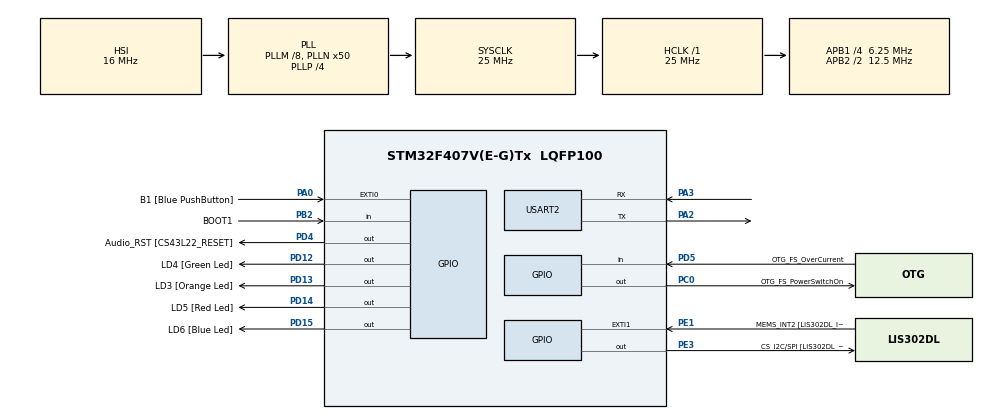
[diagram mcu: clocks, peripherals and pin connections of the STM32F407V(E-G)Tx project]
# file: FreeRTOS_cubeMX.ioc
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FREERTOS.Tasks01=defaultTask,0,128,StartDefaultTask,Default,NULL,Dynamic,NULL,NULL;myTask02,0,128,StartTask02,Default,NULL,Dynamic,NULL,NULL;myTask03,0,128,StartTask03,Default,NULL,Dynamic,NULL,NULL
Mcu.Family=STM32F4
Mcu.Name=STM32F407V(E-G)Tx
Mcu.Package=LQFP100
NVIC.PriorityGroup=NVIC_PRIORITYGROUP_4
NVIC.TIM1_UP_TIM10_IRQn=true\:0\:0\:false\:false\:true\:false\:false\:true
NVIC.TimeBase=TIM1_UP_TIM10_IRQn
NVIC.TimeBaseIP=TIM1
PA0-WKUP.GPIO_Label=B1 [Blue PushButton]
PA0-WKUP.Signal=GPXTI0
PA10.GPIO_Label=OTG_FS_ID
PA10.GPIO_Mode=GPIO_MODE_AF_PP
PA10.GPIO_PuPd=GPIO_NOPULL
PA10.GPIO_Speed=GPIO_SPEED_FREQ_LOW
PA10.Signal=USB_OTG_FS_ID
PA11.GPIO_Label=OTG_FS_DM
PA11.GPIO_Mode=GPIO_MODE_AF_PP
PA11.GPIO_PuPd=GPIO_NOPULL
PA11.GPIO_Speed=GPIO_SPEED_FREQ_LOW
PA11.Signal=USB_OTG_FS_DM
PA12.GPIO_Label=OTG_FS_DP
PA12.GPIO_Mode=GPIO_MODE_AF_PP
PA12.GPIO_PuPd=GPIO_NOPULL
PA12.GPIO_Speed=GPIO_SPEED_FREQ_LOW
PA12.Signal=USB_OTG_FS_DP
PA13.GPIO_Label=SWDIO
PA13.Signal=SYS_JTMS-SWDIO
PA14.GPIO_Label=SWCLK
PA14.Signal=SYS_JTCK-SWCLK
PA2.Mode=Asynchronous
PA2.Signal=USART2_TX
PA3.Mode=Asynchronous
PA3.Signal=USART2_RX
PA4.GPIO_Label=I2S3_WS [CS43L22_LRCK]
PA4.GPIO_Mode=GPIO_MODE_AF_PP
PA4.GPIO_PuPd=GPIO_NOPULL
PA4.GPIO_Speed=GPIO_SPEED_FREQ_LOW
PA4.Signal=I2S3_WS
PA5.GPIO_Label=SPI1_SCK [LIS302DL_SCL/SPC]
PA5.GPIO_Mode=GPIO_MODE_AF_PP
PA5.GPIO_PuPd=GPIO_NOPULL
PA5.GPIO_Speed=GPIO_SPEED_FREQ_LOW
PA5.Signal=SPI1_SCK
PA6.GPIO_Label=SPI1_MISO [LIS302DL_SDO]
PA6.GPIO_Mode=GPIO_MODE_AF_PP
PA6.GPIO_PuPd=GPIO_NOPULL
PA6.GPIO_Speed=GPIO_SPEED_FREQ_LOW
PA6.Signal=SPI1_MISO
PA7.GPIO_Label=SPI1_MOSI [LIS302DL_SDA/SDI/SDO]
PA7.GPIO_Mode=GPIO_MODE_AF_PP
PA7.GPIO_PuPd=GPIO_NOPULL
PA7.GPIO_Speed=GPIO_SPEED_FREQ_LOW
PA7.Signal=SPI1_MOSI
PA9.GPIO_Label=VBUS_FS
PA9.GPIO_Mode=GPIO_MODE_INPUT
PA9.GPIO_PuPd=GPIO_NOPULL
PA9.Signal=USB_OTG_FS_VBUS
PB10.GPIO_Label=CLK_IN [MP45DT02_CLK]
PB10.GPIO_Mode=GPIO_MODE_AF_PP
PB10.GPIO_PuPd=GPIO_NOPULL
PB10.GPIO_Speed=GPIO_SPEED_FREQ_LOW
PB10.Signal=I2S2_CK
PB2.GPIO_Label=BOOT1
PB2.GPIO_Mode=GPIO_MODE_INPUT
PB2.GPIO_PuPd=GPIO_NOPULL
PB2.Signal=GPIO_Input
PB3.GPIO_Label=SWO
PB3.Signal=SYS_JTDO-SWO
PB6.GPIO_Label=Audio_SCL [CS43L22_SCL]
PB6.GPIO_Mode=GPIO_MODE_AF_OD
PB6.GPIO_PuPd=GPIO_NOPULL
PB6.GPIO_Speed=GPIO_SPEED_FREQ_LOW
PB6.Signal=I2C1_SCL
PB9.GPIO_Label=Audio_SDA [CS43L22_SDA]
PB9.GPIO_Mode=GPIO_MODE_AF_OD
PB9.GPIO_PuPd=GPIO_NOPULL
PB9.GPIO_Speed=GPIO_SPEED_FREQ_LOW
PB9.Signal=I2C1_SDA
PC0.GPIO_Label=OTG_FS_PowerSwitchOn
PC0.GPIO_PuPd=GPIO_NOPULL
PC0.GPIO_Speed=GPIO_SPEED_FREQ_LOW
PC0.PinState=GPIO_PIN_SET
PC0.Signal=GPIO_Output
PC10.GPIO_Label=I2S3_SCK [CS43L22_SCLK]
PC10.GPIO_Mode=GPIO_MODE_AF_PP
PC10.GPIO_PuPd=GPIO_NOPULL
PC10.GPIO_Speed=GPIO_SPEED_FREQ_LOW
PC10.Signal=I2S3_CK
PC12.GPIO_Label=I2S3_SD [CS43L22_SDIN]
PC12.GPIO_Mode=GPIO_MODE_AF_PP
PC12.GPIO_PuPd=GPIO_NOPULL
PC12.GPIO_Speed=GPIO_SPEED_FREQ_LOW
PC12.Signal=I2S3_SD
PC14-OSC32_IN.GPIO_Label=PC14-OSC32_IN
PC14-OSC32_IN.Signal=RCC_OSC32_IN
PC15-OSC32_OUT.GPIO_Label=PC15-OSC32_OUT
PC15-OSC32_OUT.Signal=RCC_OSC32_OUT
PC3.GPIO_Label=PDM_OUT [MP45DT02_DOUT]
PC3.GPIO_Mode=GPIO_MODE_AF_PP
PC3.GPIO_PuPd=GPIO_NOPULL
PC3.GPIO_Speed=GPIO_SPEED_FREQ_LOW
PC3.Signal=I2S2_SD
PC7.GPIO_Label=I2S3_MCK [CS43L22_MCLK]
PC7.GPIO_Mode=GPIO_MODE_AF_PP
PC7.GPIO_PuPd=GPIO_NOPULL
PC7.GPIO_Speed=GPIO_SPEED_FREQ_LOW
PC7.Signal=I2S3_MCK
PD12.GPIO_Label=LD4 [Green Led]
PD12.GPIO_PuPd=GPIO_NOPULL
PD12.GPIO_Speed=GPIO_SPEED_FREQ_LOW
PD12.Signal=GPIO_Output
PD13.GPIO_Label=LD3 [Orange Led]
PD13.GPIO_PuPd=GPIO_NOPULL
PD13.GPIO_Speed=GPIO_SPEED_FREQ_LOW
PD13.Signal=GPIO_Output
PD14.GPIO_Label=LD5 [Red Led]
PD14.GPIO_PuPd=GPIO_NOPULL
PD14.GPIO_Speed=GPIO_SPEED_FREQ_LOW
PD14.Signal=GPIO_Output
PD15.GPIO_Label=LD6 [Blue Led]
PD15.GPIO_PuPd=GPIO_NOPULL
PD15.GPIO_Speed=GPIO_SPEED_FREQ_LOW
PD15.Signal=GPIO_Output
PD4.GPIO_Label=Audio_RST [CS43L22_RESET]
PD4.GPIO_PuPd=GPIO_NOPULL
PD4.GPIO_Speed=GPIO_SPEED_FREQ_LOW
PD4.Signal=GPIO_Output
PD5.GPIO_Label=OTG_FS_OverCurrent
PD5.GPIO_Mode=GPIO_MODE_INPUT
PD5.GPIO_PuPd=GPIO_NOPULL
PD5.Signal=GPIO_Input
PE1.GPIO_Label=MEMS_INT2 [LIS302DL_INT2]
PE1.GPIO_ModeDefaultEXTI=GPIO_MODE_EVT_RISING
PE1.GPIO_PuPd=GPIO_NOPULL
PE1.Signal=GPXTI1
PE3.GPIO_Label=CS_I2C/SPI [LIS302DL_CS_I2C/SPI]
PE3.GPIO_PuPd=GPIO_NOPULL
PE3.GPIO_Speed=GPIO_SPEED_FREQ_LOW
PE3.Signal=GPIO_Output
PH0-OSC_IN.GPIO_Label=PH0-OSC_IN
PH0-OSC_IN.Signal=RCC_OSC_IN
PH1-OSC_OUT.GPIO_Label=PH1-OSC_OUT
PH1-OSC_OUT.Signal=RCC_OSC_OUT
ProjectManager.HeapSize=0x200
ProjectManager.StackSize=0x400
ProjectManager.TargetToolchain=STM32CubeIDE
RCC.48MHZClocksFreq_Value=14285714.285714285
RCC.AHBFreq_Value=25000000
RCC.APB1CLKDivider=RCC_HCLK_DIV4
RCC.APB1Freq_Value=6250000
RCC.APB1TimFreq_Value=12500000
RCC.APB2CLKDivider=RCC_HCLK_DIV2
RCC.APB2Freq_Value=12500000
RCC.APB2TimFreq_Value=25000000
RCC.CortexFreq_Value=25000000
RCC.HCLKFreq_Value=25000000
RCC.HSE_VALUE=8000000
RCC.HSI_VALUE=16000000
RCC.LSE_VALUE=32768
RCC.PLLM=8
RCC.PLLN=50
RCC.PLLP=RCC_PLLP_DIV4
RCC.PLLQ=7
RCC.SYSCLKFreq_VALUE=25000000
RCC.SYSCLKSource=RCC_SYSCLKSOURCE_PLLCLK
RCC.VCOOutputFreq_Value=100000000
USART2.VirtualMode=VM_ASYNC
VP_FREERTOS_VS_CMSIS_V1.Mode=CMSIS_V1
VP_SYS_VS_tim1.Mode=TIM1
board=STM32F407G-DISC1

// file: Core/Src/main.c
/* USER CODE BEGIN Header */
/**
  ******************************************************************************
  * @file           : main.c
  * @brief          : Main program body
  ******************************************************************************
  * @attention
  *
  * <h2><center>&copy; Copyright (c) 2022 STMicroelectronics.
  * All rights reserved.</center></h2>
  *
  * This software component is licensed by ST under Ultimate Liberty license
  * SLA0044, the "License"; You may not use this file except in compliance with
  * the License. You may obtain a copy of the License at:
  *                             www.st.com/SLA0044
  *
  ******************************************************************************
  */
/* USER CODE END Header */
#include "main.h"
#include "cmsis_os.h"

UART_HandleTypeDef huart2;

osThreadId defaultTaskHandle;
osThreadId myTask02Handle;
osThreadId myTask03Handle;
/* USER CODE BEGIN PV */
osThreadId myTask04Handle;

/* USER CODE END PV */

void SystemClock_Config(void);
static void MX_GPIO_Init(void);
static void MX_USART2_UART_Init(void);
void StartDefaultTask(void const * argument);
void StartTask02(void const * argument);
void StartTask03(void const * argument);
void StartTask04(void const * argument);

/* USER CODE BEGIN 0 */

void send_deftask(void)
{
	uint8_t data[] = "Wake up!\r\n";
	HAL_UART_Transmit(&huart2, (uint8_t*)data, sizeof(data), 500);
}

void send_task2(void)
{
	uint8_t data[] = " 7.30  - 17.30 Work wisely! \r\n";
	HAL_UART_Transmit(&huart2, (uint8_t*)data, sizeof(data), 500);
}

void send_task3(void)
{
	uint8_t data[] = "Sleep! \r\n";
	uint8_t seperator[] = "********************************* \r\n";
	HAL_UART_Transmit(&huart2, (uint8_t*)data, sizeof(data), 500);
	HAL_UART_Transmit(&huart2, (uint8_t*)seperator, sizeof(seperator), 500);

}

void send_task4(void)
{
		uint8_t seperator[] = "********************************* \r\n";
		HAL_UART_Transmit(&huart2, (uint8_t*)seperator, sizeof(seperator), 500);
}
/* USER CODE END 0 */

int main(void)
{

  /* MCU Configuration--------------------------------------------------------*/

  /* Reset of all peripherals, Initializes the Flash interface and the Systick. */
  HAL_Init();

  /* Configure the system clock */
  SystemClock_Config();

  /* Initialize all configured peripherals */
  MX_GPIO_Init();
  MX_USART2_UART_Init();

  /* Create the thread(s) */
  /* definition and creation of defaultTask */
  osThreadDef(defaultTask, StartDefaultTask, osPriorityNormal, 0, 128);
  defaultTaskHandle = osThreadCreate(osThread(defaultTask), NULL);

  /* definition and creation of myTask02 */
  osThreadDef(myTask02, StartTask02, osPriorityNormal, 0, 128);
  myTask02Handle = osThreadCreate(osThread(myTask02), NULL);

  /* definition and creation of myTask03 */
  osThreadDef(myTask03, StartTask03, osPriorityNormal, 0, 128);
  myTask03Handle = osThreadCreate(osThread(myTask03), NULL);

  osThreadDef(myTask04, StartTask04, osPriorityNormal, 0, 128);
   myTask04Handle = osThreadCreate(osThread(myTask04), NULL);

  /* Start scheduler */
  osKernelStart();

  /* We should never get here as control is now taken by the scheduler */
  /* Infinite loop */
  while (1)
  {

  }
}

void SystemClock_Config(void)
{
  RCC_OscInitTypeDef RCC_OscInitStruct = {0};
  RCC_ClkInitTypeDef RCC_ClkInitStruct = {0};

  /** Configure the main internal regulator output voltage
  */
  __HAL_RCC_PWR_CLK_ENABLE();
  __HAL_PWR_VOLTAGESCALING_CONFIG(PWR_REGULATOR_VOLTAGE_SCALE1);
  /** Initializes the RCC Oscillators according to the specified parameters
  * in the RCC_OscInitTypeDef structure.
  */
  RCC_OscInitStruct.OscillatorType = RCC_OSCILLATORTYPE_HSI;
  RCC_OscInitStruct.HSIState = RCC_HSI_ON;
  RCC_OscInitStruct.HSICalibrationValue = RCC_HSICALIBRATION_DEFAULT;
  RCC_OscInitStruct.PLL.PLLState = RCC_PLL_ON;
  RCC_OscInitStruct.PLL.PLLSource = RCC_PLLSOURCE_HSI;
  RCC_OscInitStruct.PLL.PLLM = 8;
  RCC_OscInitStruct.PLL.PLLN = 50;
  RCC_OscInitStruct.PLL.PLLP = RCC_PLLP_DIV4;
  RCC_OscInitStruct.PLL.PLLQ = 7;
  if (HAL_RCC_OscConfig(&RCC_OscInitStruct) != HAL_OK)
  {
    Error_Handler();
  }
  /** Initializes the CPU, AHB and APB buses clocks
  */
  RCC_ClkInitStruct.ClockType = RCC_CLOCKTYPE_HCLK|RCC_CLOCKTYPE_SYSCLK
                              |RCC_CLOCKTYPE_PCLK1|RCC_CLOCKTYPE_PCLK2;
  RCC_ClkInitStruct.SYSCLKSource = RCC_SYSCLKSOURCE_PLLCLK;
  RCC_ClkInitStruct.AHBCLKDivider = RCC_SYSCLK_DIV1;
  RCC_ClkInitStruct.APB1CLKDivider = RCC_HCLK_DIV4;
  RCC_ClkInitStruct.APB2CLKDivider = RCC_HCLK_DIV2;

  if (HAL_RCC_ClockConfig(&RCC_ClkInitStruct, FLASH_LATENCY_0) != HAL_OK)
  {
    Error_Handler();
  }
}

static void MX_USART2_UART_Init(void)
{

  huart2.Instance = USART2;
  huart2.Init.BaudRate = 115200;
  huart2.Init.WordLength = UART_WORDLENGTH_8B;
  huart2.Init.StopBits = UART_STOPBITS_1;
  huart2.Init.Parity = UART_PARITY_NONE;
  huart2.Init.Mode = UART_MODE_TX_RX;
  huart2.Init.HwFlowCtl = UART_HWCONTROL_NONE;
  huart2.Init.OverSampling = UART_OVERSAMPLING_16;
  if (HAL_UART_Init(&huart2) != HAL_OK)
  {
    Error_Handler();
  }

}

static void MX_GPIO_Init(void)
{
  GPIO_InitTypeDef GPIO_InitStruct = {0};

  /* GPIO Ports Clock Enable */
  __HAL_RCC_GPIOE_CLK_ENABLE();
  __HAL_RCC_GPIOC_CLK_ENABLE();
  __HAL_RCC_GPIOH_CLK_ENABLE();
  __HAL_RCC_GPIOA_CLK_ENABLE();
  __HAL_RCC_GPIOB_CLK_ENABLE();
  __HAL_RCC_GPIOD_CLK_ENABLE();

  /*Configure GPIO pin Output Level */
  HAL_GPIO_WritePin(CS_I2C_SPI_GPIO_Port, CS_I2C_SPI_Pin, GPIO_PIN_RESET);

  /*Configure GPIO pin Output Level */
  HAL_GPIO_WritePin(OTG_FS_PowerSwitchOn_GPIO_Port, OTG_FS_PowerSwitchOn_Pin, GPIO_PIN_SET);

  /*Configure GPIO pin Output Level */
  HAL_GPIO_WritePin(GPIOD, LD4_Pin|LD3_Pin|LD5_Pin|LD6_Pin
                          |Audio_RST_Pin, GPIO_PIN_RESET);

  /*Configure GPIO pin : CS_I2C_SPI_Pin */
  GPIO_InitStruct.Pin = CS_I2C_SPI_Pin;
  GPIO_InitStruct.Mode = GPIO_MODE_OUTPUT_PP;
  GPIO_InitStruct.Pull = GPIO_NOPULL;
  GPIO_InitStruct.Speed = GPIO_SPEED_FREQ_LOW;
  HAL_GPIO_Init(CS_I2C_SPI_GPIO_Port, &GPIO_InitStruct);

  /*Configure GPIO pin : OTG_FS_PowerSwitchOn_Pin */
  GPIO_InitStruct.Pin = OTG_FS_PowerSwitchOn_Pin;
  GPIO_InitStruct.Mode = GPIO_MODE_OUTPUT_PP;
  GPIO_InitStruct.Pull = GPIO_NOPULL;
  GPIO_InitStruct.Speed = GPIO_SPEED_FREQ_LOW;
  HAL_GPIO_Init(OTG_FS_PowerSwitchOn_GPIO_Port, &GPIO_InitStruct);

  /*Configure GPIO pin : PDM_OUT_Pin */
  GPIO_InitStruct.Pin = PDM_OUT_Pin;
  GPIO_InitStruct.Mode = GPIO_MODE_AF_PP;
  GPIO_InitStruct.Pull = GPIO_NOPULL;
  GPIO_InitStruct.Speed = GPIO_SPEED_FREQ_LOW;
  GPIO_InitStruct.Alternate = GPIO_AF5_SPI2;
  HAL_GPIO_Init(PDM_OUT_GPIO_Port, &GPIO_InitStruct);

  /*Configure GPIO pin : B1_Pin */
  GPIO_InitStruct.Pin = B1_Pin;
  GPIO_InitStruct.Mode = GPIO_MODE_IT_RISING;
  GPIO_InitStruct.Pull = GPIO_NOPULL;
  HAL_GPIO_Init(B1_GPIO_Port, &GPIO_InitStruct);

  /*Configure GPIO pin : I2S3_WS_Pin */
  GPIO_InitStruct.Pin = I2S3_WS_Pin;
  GPIO_InitStruct.Mode = GPIO_MODE_AF_PP;
  GPIO_InitStruct.Pull = GPIO_NOPULL;
  GPIO_InitStruct.Speed = GPIO_SPEED_FREQ_LOW;
  GPIO_InitStruct.Alternate = GPIO_AF6_SPI3;
  HAL_GPIO_Init(I2S3_WS_GPIO_Port, &GPIO_InitStruct);

  /*Configure GPIO pins : SPI1_SCK_Pin SPI1_MISO_Pin SPI1_MOSI_Pin */
  GPIO_InitStruct.Pin = SPI1_SCK_Pin|SPI1_MISO_Pin|SPI1_MOSI_Pin;
  GPIO_InitStruct.Mode = GPIO_MODE_AF_PP;
  GPIO_InitStruct.Pull = GPIO_NOPULL;
  GPIO_InitStruct.Speed = GPIO_SPEED_FREQ_LOW;
  GPIO_InitStruct.Alternate = GPIO_AF5_SPI1;
  HAL_GPIO_Init(GPIOA, &GPIO_InitStruct);

  /*Configure GPIO pin : BOOT1_Pin */
  GPIO_InitStruct.Pin = BOOT1_Pin;
  GPIO_InitStruct.Mode = GPIO_MODE_INPUT;
  GPIO_InitStruct.Pull = GPIO_NOPULL;
  HAL_GPIO_Init(BOOT1_GPIO_Port, &GPIO_InitStruct);

  /*Configure GPIO pin : CLK_IN_Pin */
  GPIO_InitStruct.Pin = CLK_IN_Pin;
  GPIO_InitStruct.Mode = GPIO_MODE_AF_PP;
  GPIO_InitStruct.Pull = GPIO_NOPULL;
  GPIO_InitStruct.Speed = GPIO_SPEED_FREQ_LOW;
  GPIO_InitStruct.Alternate = GPIO_AF5_SPI2;
  HAL_GPIO_Init(CLK_IN_GPIO_Port, &GPIO_InitStruct);

  /*Configure GPIO pins : LD4_Pin LD3_Pin LD5_Pin LD6_Pin
                           Audio_RST_Pin */
  GPIO_InitStruct.Pin = LD4_Pin|LD3_Pin|LD5_Pin|LD6_Pin
                          |Audio_RST_Pin;
  GPIO_InitStruct.Mode = GPIO_MODE_OUTPUT_PP;
  GPIO_InitStruct.Pull = GPIO_NOPULL;
  GPIO_InitStruct.Speed = GPIO_SPEED_FREQ_LOW;
  HAL_GPIO_Init(GPIOD, &GPIO_InitStruct);

  /*Configure GPIO pins : I2S3_MCK_Pin I2S3_SCK_Pin I2S3_SD_Pin */
  GPIO_InitStruct.Pin = I2S3_MCK_Pin|I2S3_SCK_Pin|I2S3_SD_Pin;
  GPIO_InitStruct.Mode = GPIO_MODE_AF_PP;
  GPIO_InitStruct.Pull = GPIO_NOPULL;
  GPIO_InitStruct.Speed = GPIO_SPEED_FREQ_LOW;
  GPIO_InitStruct.Alternate = GPIO_AF6_SPI3;
  HAL_GPIO_Init(GPIOC, &GPIO_InitStruct);

  /*Configure GPIO pin : VBUS_FS_Pin */
  GPIO_InitStruct.Pin = VBUS_FS_Pin;
  GPIO_InitStruct.Mode = GPIO_MODE_INPUT;
  GPIO_InitStruct.Pull = GPIO_NOPULL;
  HAL_GPIO_Init(VBUS_FS_GPIO_Port, &GPIO_InitStruct);

  /*Configure GPIO pins : OTG_FS_ID_Pin OTG_FS_DM_Pin OTG_FS_DP_Pin */
  GPIO_InitStruct.Pin = OTG_FS_ID_Pin|OTG_FS_DM_Pin|OTG_FS_DP_Pin;
  GPIO_InitStruct.Mode = GPIO_MODE_AF_PP;
  GPIO_InitStruct.Pull = GPIO_NOPULL;
  GPIO_InitStruct.Speed = GPIO_SPEED_FREQ_LOW;
  GPIO_InitStruct.Alternate = GPIO_AF10_OTG_FS;
  HAL_GPIO_Init(GPIOA, &GPIO_InitStruct);

  /*Configure GPIO pin : OTG_FS_OverCurrent_Pin */
  GPIO_InitStruct.Pin = OTG_FS_OverCurrent_Pin;
  GPIO_InitStruct.Mode = GPIO_MODE_INPUT;
  GPIO_InitStruct.Pull = GPIO_NOPULL;
  HAL_GPIO_Init(OTG_FS_OverCurrent_GPIO_Port, &GPIO_InitStruct);

  /*Configure GPIO pins : Audio_SCL_Pin Audio_SDA_Pin */
  GPIO_InitStruct.Pin = Audio_SCL_Pin|Audio_SDA_Pin;
  GPIO_InitStruct.Mode = GPIO_MODE_AF_OD;
  GPIO_InitStruct.Pull = GPIO_PULLUP;
  GPIO_InitStruct.Speed = GPIO_SPEED_FREQ_LOW;
  GPIO_InitStruct.Alternate = GPIO_AF4_I2C1;
  HAL_GPIO_Init(GPIOB, &GPIO_InitStruct);

  /*Configure GPIO pin : MEMS_INT2_Pin */
  GPIO_InitStruct.Pin = MEMS_INT2_Pin;
  GPIO_InitStruct.Mode = GPIO_MODE_EVT_RISING;
  GPIO_InitStruct.Pull = GPIO_NOPULL;
  HAL_GPIO_Init(MEMS_INT2_GPIO_Port, &GPIO_InitStruct);

}

void StartDefaultTask(void const * argument)
{
  /* USER CODE BEGIN 5 */

  /* Infinite loop */
  for(;;)
  {
	  HAL_GPIO_TogglePin(GPIOD, GPIO_PIN_15);
	  send_deftask();
	  osDelay(1000);
  }
  /* USER CODE END 5 */
}

void StartTask02(void const * argument)
{
  /* USER CODE BEGIN StartTask02 */
  /* Infinite loop */
  for(;;)
  {

	  HAL_GPIO_TogglePin(GPIOD, GPIO_PIN_14);
	  send_task2();
	  osDelay(1010);
  }
  /* USER CODE END StartTask02 */
}

void StartTask03(void const * argument)
{
  /* USER CODE BEGIN StartTask03 */
  /* Infinite loop */
  for(;;)
  {
	  send_task3();
	  HAL_GPIO_TogglePin(GPIOD, GPIO_PIN_13);

    osDelay(1020);
  }
  /* USER CODE END StartTask03 */
}
void StartTask04(void const * argument)
{
  /* USER CODE BEGIN StartTask03 */
  /* Infinite loop */
  for(;;)
  {
	  send_task4();
	  HAL_GPIO_TogglePin(GPIOD, GPIO_PIN_12);

    osDelay(1030);
  }
  /* USER CODE END StartTask03 */
}

 /**
  * @brief  Period elapsed callback in non blocking mode
  * @note   This function is called  when TIM1 interrupt took place, inside
  * HAL_TIM_IRQHandler(). It makes a direct call to HAL_IncTick() to increment
  * a global variable "uwTick" used as application time base.
  * @param  htim : TIM handle
  * @retval None
  */
void HAL_TIM_PeriodElapsedCallback(TIM_HandleTypeDef *htim)
{
  if (htim->Instance == TIM1) {
    HAL_IncTick();
  }
}

void Error_Handler(void)
{
  __disable_irq();
  while (1)
  {
  }
}

/************************ (C) COPYRIGHT STMicroelectronics *****END OF FILE****/
